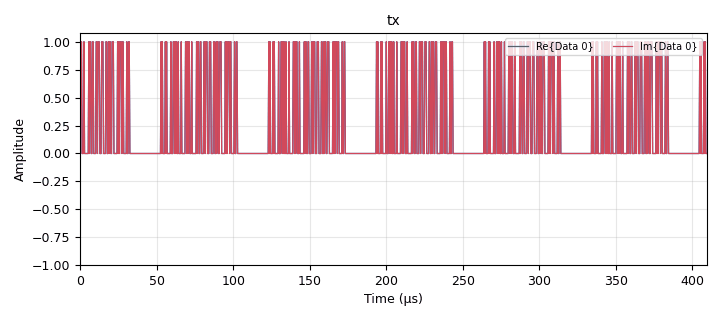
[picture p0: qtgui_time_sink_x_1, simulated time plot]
options:
  parameters:
    author: jeremy
    generate_options: qt_gui
    id: adsb
    output_language: python
    title: Not titled yet
  states: {}

blocks:
- name: freq
  id: variable
  parameters:
    value: '1090000000'
  states: {}
- name: samp_rate
  id: variable
  parameters:
    value: '2500000'
  states: {}
- name: stop_btn
  id: variable_qtgui_push_button
  parameters:
    pressed: '1'
    released: '0'
    type: real
    value: '1'
  states: {}
- name: th_high
  id: variable_qtgui_range
  parameters:
    start: '0'
    step: '0.001'
    stop: '1'
    value: '0.11'
  states: {}
- name: th_low
  id: variable_qtgui_range
  parameters:
    start: '0'
    step: '0.001'
    stop: '1'
    value: '0.057'
  states: {}
- name: blocks_char_to_float_0
  id: blocks_char_to_float
  parameters:
    scale: '1'
  states: {}
- name: blocks_complex_to_mag_squared_0
  id: blocks_complex_to_mag_squared
  parameters: {}
  states: {}
- name: blocks_float_to_complex_0
  id: blocks_float_to_complex
  parameters: {}
  states: {}
- name: blocks_multiply_const_vxx_0
  id: blocks_multiply_const_vxx
  parameters:
    const: stop_btn
    type: float
  states: {}
- name: blocks_threshold_ff_0
  id: blocks_threshold_ff
  parameters:
    high: th_high
    init: '0'
    low: th_low
  states: {}
- name: blocks_throttle_0
  id: blocks_throttle
  parameters:
    samples_per_second: '1000000'
    type: byte
  states: {}
- name: blocks_vector_source_x_0
  id: blocks_vector_source_x
  parameters:
    repeat: 'True'
    type: byte
    vector: (0,0,0,0,0,0,0,0,0,0,0,0,0,0,0,0,0,0,0,0,0,0,0,0,0,0,0,0,0,0,0,0,0,0,0,0,0,0,0,0,0,0,0,0,0,0,0,0,1,0,1,0,0,0,0,1,0,1,0,0,0,0,0,0,1,0,0,0,1,1,0,1,0,1,0,0,1,0,0,0,0,1,0,0,0,0,0,0,1,1,0,1,0,1,1,0,0,0,1,0,0,0,0,0,0,0,1,0,1,1,0,0,1,1,0,0,0,0,1,1,0,1,1,1,0,0,0,1,1,1,0,0,0,0,1,1,0,0,1,0,1,1,0,0,1,1,1,0,0,0,0,0,0,1,0,1,0,1,1,1,0,1,1,0,0,0,0,0,1,0,0,1,1,0,0,0)
  states: {}
- name: digital_correlate_access_code_tag_xx_0
  id: digital_correlate_access_code_tag_xx
  parameters:
    access_code: '"1010000101"'
    tagname: '"adsb"'
    threshold: '1'
    type: float
  states: {}
- name: iio_pluto_sink_0
  id: iio_pluto_sink
  parameters:
    attenuation1: '48'
    bandwidth: '20000000'
    buffer_size: '32768'
    cyclic: 'False'
    filter_source: '''Auto'''
    frequency: '1090000000'
    samplerate: samp_rate
    type: fc32
  states: {}
- name: iio_pluto_source_0
  id: iio_pluto_source
  parameters:
    bandwidth: '200000'
    bbdc: 'True'
    buffer_size: '32768'
    filter_source: '''Auto'''
    frequency: freq
    gain1: '''manual'''
    len_tag_key: ''
    manual_gain1: '70'
    quadrature: 'True'
    rfdc: 'True'
    samplerate: samp_rate
    type: fc32
    uri: 192.168.2.1
  states: {}
- name: qtgui_time_sink_x_0
  id: qtgui_time_sink_x
  parameters:
    entags: 'False'
    name: '"mag out"'
    size: '1024'
    srate: samp_rate
    tr_delay: '0.00001'
    tr_level: '0.1'
    tr_mode: qtgui.TRIG_MODE_NORM
    type: float
    update_time: '0.1'
    ymin: '-0.1'
  states: {}
- name: qtgui_time_sink_x_0_0
  id: qtgui_time_sink_x
  parameters:
    name: '"threshold out"'
    size: '1024'
    srate: samp_rate
    tr_delay: '0.00001'
    tr_level: '0.1'
    tr_mode: qtgui.TRIG_MODE_NORM
    type: float
    update_time: '0.1'
    ymin: '-0.1'
  states: {}
- name: qtgui_time_sink_x_0_0_0
  id: qtgui_time_sink_x
  parameters:
    name: '"tag stream out"'
    size: '1024'
    srate: '1000000'
    tr_delay: '0.00001'
    tr_level: '0.1'
    tr_mode: qtgui.TRIG_MODE_NORM
    tr_tag: '"adsb"'
    type: float
    update_time: '0.1'
    ymin: '-0.1'
  states: {}
- name: qtgui_time_sink_x_1
  id: qtgui_time_sink_x
  parameters:
    name: '"tx"'
    size: '1024'
    srate: samp_rate
    tr_level: '0.5'
    tr_mode: qtgui.TRIG_MODE_NORM
    type: complex
  states: {}

connections:
- [blocks_char_to_float_0, '0', blocks_float_to_complex_0, '0']
- [blocks_char_to_float_0, '0', blocks_float_to_complex_0, '1']
- [blocks_complex_to_mag_squared_0, '0', blocks_multiply_const_vxx_0, '0']
- [blocks_float_to_complex_0, '0', iio_pluto_sink_0, '0']
- [blocks_float_to_complex_0, '0', qtgui_time_sink_x_1, '0']
- [blocks_multiply_const_vxx_0, '0', blocks_threshold_ff_0, '0']
- [blocks_multiply_const_vxx_0, '0', qtgui_time_sink_x_0, '0']
- [blocks_threshold_ff_0, '0', digital_correlate_access_code_tag_xx_0, '0']
- [blocks_threshold_ff_0, '0', qtgui_time_sink_x_0_0, '0']
- [blocks_throttle_0, '0', blocks_char_to_float_0, '0']
- [blocks_vector_source_x_0, '0', blocks_throttle_0, '0']
- [digital_correlate_access_code_tag_xx_0, '0', qtgui_time_sink_x_0_0_0, '0']
- [iio_pluto_source_0, '0', blocks_complex_to_mag_squared_0, '0']

metadata:
  file_format: 1
